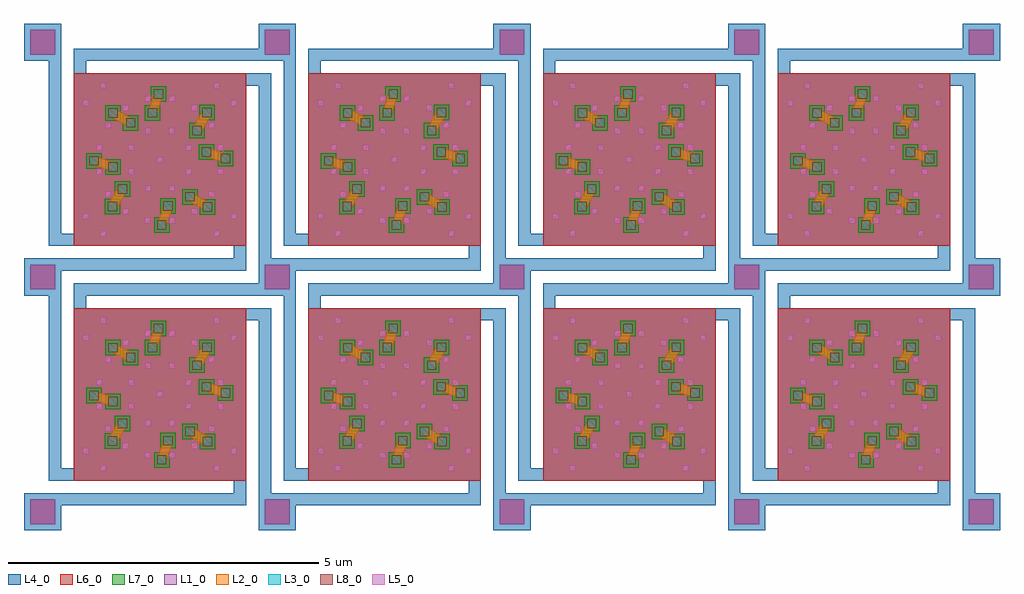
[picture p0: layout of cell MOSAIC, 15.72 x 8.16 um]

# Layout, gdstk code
import gdstk
lib = gdstk.Library(unit=1e-6, precision=1e-09)
def R(c, l, rs):  # rectangles x0, y0, x1, y1
    for r in rs: c.add(gdstk.rectangle(r[:2], r[2:], *l))
def P(c, l, *ps):  # polygons
    for p in ps: c.add(gdstk.Polygon(p, *l))
L1_0 = (1, 0)
L2_0 = (2, 0)
L3_0 = (3, 0)
L4_0 = (4, 0)
L5_0 = (5, 0)
L6_0 = (6, 0)
L7_0 = (7, 0)
L8_0 = (8, 0)

top = lib.new_cell('TOP')
R(top, L1_0, [(-2.09,-2.09,-1.69,-1.69), (1.69,-2.09,2.09,-1.69), (-2.09,1.69,-1.69,2.09), (1.69,1.69,2.09,2.09)])
P(top, L2_0, [(-0.782,-0.188),(-1.084,-0.091),(-1.038,0.052),(-0.736,-0.045)],
  [(-0.7,-0.789),(-0.83,-0.715),(-0.67,-0.435),(-0.54,-0.509)],
  [(0.1,-1.076),(-0.042,-1.029),(0.06,-0.724),(0.202,-0.771)],
  [(0.727,-0.825),(0.446,-0.663),(0.521,-0.533),(0.802,-0.695)],
  [(1.032,-0.051),(0.727,0.05),(0.774,0.193),(1.079,0.092)],
  [(0.664,0.433),(0.532,0.505),(0.69,0.793),(0.822,0.721)],
  [(-0.049,0.732),(-0.192,0.777),(-0.095,1.08),(0.048,1.035)],
  [(-0.507,0.528),(-0.793,0.685),(-0.721,0.816),(-0.435,0.659)])
R(top, L3_0, [(-0.046,-1.129,0.104,-0.979), (0.69,-0.836,0.84,-0.686), (-0.84,-0.827,-0.69,-0.677), (0.056,-0.822,0.206,-0.672), (0.408,-0.673,0.558,-0.523), (-0.68,-0.547,-0.53,-0.397), (-0.833,-0.192,-0.683,-0.042), (-1.137,-0.094,-0.987,0.056), (0.98,-0.055,1.13,0.095), (0.675,0.046,0.825,0.196), (0.522,0.394,0.672,0.544), (-0.546,0.518,-0.396,0.668), (-0.832,0.676,-0.682,0.826), (-0.195,0.68,-0.045,0.83), (0.681,0.683,0.831,0.833), (-0.099,0.983,0.051,1.133)])
P(top, L4_0, [(-2.19,-2.19),(-2.19,-1.59),(1.19,-1.59),(1.19,-1.39),(-1.79,-1.39),(-1.79,1.59),(-2.19,1.59),(-2.19,2.19),(-1.59,2.19),(-1.59,-1.19),(-1.39,-1.19),(-1.39,1.79),(1.59,1.79),(1.59,2.19),(2.19,2.19),(2.19,1.59),(-1.19,1.59),(-1.19,1.39),(1.79,1.39),(1.79,-1.59),(2.19,-1.59),(2.19,-2.19),(1.59,-2.19),(1.59,1.19),(1.39,1.19),(1.39,-1.79),(-1.59,-1.79),(-1.59,-2.19)])
R(top, L5_0, [(-0.963,-1.24,-0.863,-1.14), (0.863,-1.24,0.963,-1.14), (-0.245,-1.03,-0.145,-0.93), (0.145,-1.03,0.245,-0.93), (-1.24,-0.963,-1.14,-0.863), (1.14,-0.963,1.24,-0.863), (-0.605,-0.881,-0.505,-0.781), (0.505,-0.881,0.605,-0.781), (-0.881,-0.605,-0.781,-0.505), (0.781,-0.605,0.881,-0.505), (-0.241,-0.511,-0.141,-0.411), (0.141,-0.511,0.241,-0.411), (-1.03,-0.245,-0.93,-0.145), (0.93,-0.245,1.03,-0.145), (-0.511,-0.241,-0.411,-0.141), (0.411,-0.241,0.511,-0.141), (-0.05,-0.05,0.05,0.05), (-0.511,0.141,-0.411,0.241), (0.411,0.141,0.511,0.241), (-1.03,0.145,-0.93,0.245), (0.93,0.145,1.03,0.245), (-0.241,0.411,-0.141,0.511), (0.141,0.411,0.241,0.511), (-0.881,0.505,-0.781,0.605), (0.781,0.505,0.881,0.605), (-0.605,0.781,-0.505,0.881), (0.505,0.781,0.605,0.881), (-1.24,0.863,-1.14,0.963), (1.14,0.863,1.24,0.963), (-0.245,0.93,-0.145,1.03), (0.145,0.93,0.245,1.03), (-0.963,1.14,-0.863,1.24), (0.863,1.14,0.963,1.24)])
R(top, L6_0, [(-2.09,-2.09,-1.69,-1.69), (1.69,-2.09,2.09,-1.69), (-1.39,-1.39,1.39,1.39), (-2.09,1.69,-1.69,2.09), (1.69,1.69,2.09,2.09)])
R(top, L7_0, [(-0.096,-1.179,0.154,-0.929), (0.64,-0.886,0.89,-0.636), (-0.89,-0.877,-0.64,-0.627), (0.006,-0.872,0.256,-0.622), (0.358,-0.723,0.608,-0.473), (-0.73,-0.597,-0.48,-0.347), (-0.883,-0.242,-0.633,0.008), (-1.187,-0.144,-0.937,0.106), (0.93,-0.105,1.18,0.145), (0.625,-0.004,0.875,0.246), (0.472,0.344,0.722,0.594), (-0.596,0.468,-0.346,0.718), (-0.882,0.626,-0.632,0.876), (-0.245,0.63,0.005,0.88), (0.631,0.633,0.881,0.883), (-0.149,0.933,0.101,1.183)])
R(top, L8_0, [(-0.046,-1.129,0.104,-0.979), (0.69,-0.836,0.84,-0.686), (-0.84,-0.827,-0.69,-0.677), (0.056,-0.822,0.206,-0.672), (0.408,-0.673,0.558,-0.523), (-0.68,-0.547,-0.53,-0.397), (-0.833,-0.192,-0.683,-0.042), (-1.137,-0.094,-0.987,0.056), (0.98,-0.055,1.13,0.095), (0.675,0.046,0.825,0.196), (0.522,0.394,0.672,0.544), (-0.546,0.518,-0.396,0.668), (-0.832,0.676,-0.682,0.826), (-0.195,0.68,-0.045,0.83), (0.681,0.683,0.831,0.833), (-0.099,0.983,0.051,1.133)])

mosaic = lib.new_cell('MOSAIC')
r = gdstk.Reference(top, (-3.812,-0.034)); r.repetition = gdstk.Repetition(4, 2, v1=(3.78,0), v2=(0,3.78)); mosaic.add(r)

lib.write_gds('MOSAIC.gds')
